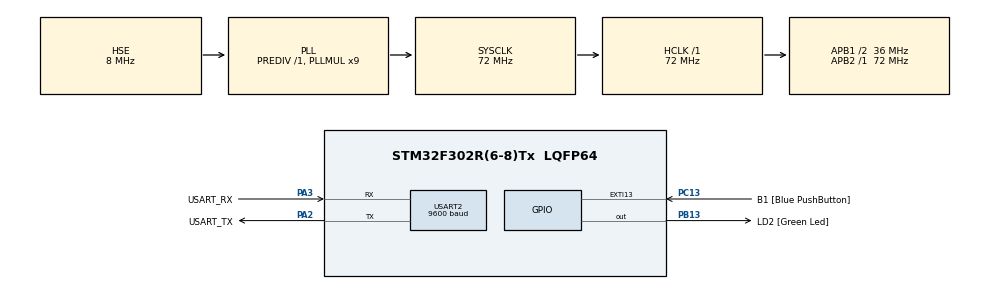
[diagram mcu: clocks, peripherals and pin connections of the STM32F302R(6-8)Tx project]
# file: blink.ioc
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Mcu.Family=STM32F3
Mcu.Name=STM32F302R(6-8)Tx
Mcu.Package=LQFP64
NVIC.PriorityGroup=NVIC_PRIORITYGROUP_0
PA13.GPIO_Label=TMS
PA13.Mode=Trace_Asynchronous_SW
PA13.Signal=SYS_JTMS-SWDIO
PA14.GPIO_Label=TCK
PA14.Mode=Trace_Asynchronous_SW
PA14.Signal=SYS_JTCK-SWCLK
PA2.GPIO_Label=USART_TX
PA2.GPIO_Mode=GPIO_MODE_AF_PP
PA2.GPIO_PuPd=GPIO_NOPULL
PA2.GPIO_Speed=GPIO_SPEED_FREQ_LOW
PA2.Mode=Asynchronous
PA2.Signal=USART2_TX
PA3.GPIO_Label=USART_RX
PA3.GPIO_Mode=GPIO_MODE_AF_PP
PA3.GPIO_PuPd=GPIO_NOPULL
PA3.GPIO_Speed=GPIO_SPEED_FREQ_LOW
PA3.Mode=Asynchronous
PA3.Signal=USART2_RX
PB13.GPIO_Label=LD2 [Green Led]
PB13.GPIO_ModeDefaultOutputPP=GPIO_MODE_OUTPUT_PP
PB13.GPIO_PuPd=GPIO_NOPULL
PB13.PinState=GPIO_PIN_SET
PB13.Signal=GPIO_Output
PB3.GPIO_Label=SWO
PB3.Mode=Trace_Asynchronous_SW
PB3.Signal=SYS_JTDO-TRACESWO
PC13.GPIO_Label=B1 [Blue PushButton]
PC13.GPIO_ModeDefaultEXTI=GPIO_MODE_IT_RISING
PC13.GPIO_PuPd=GPIO_PULLUP
PC13.Signal=GPXTI13
PC14\ -\ OSC32_IN.Signal=RCC_OSC32_IN
PC15\ -\ OSC32_OUT.Signal=RCC_OSC32_OUT
PF0-OSC_IN.Mode=HSE-External-Oscillator
PF0-OSC_IN.Signal=RCC_OSC_IN
PF1-OSC_OUT.Mode=HSE-External-Oscillator
PF1-OSC_OUT.Signal=RCC_OSC_OUT
ProjectManager.HeapSize=0x200
ProjectManager.StackSize=0x400
ProjectManager.TargetToolchain=STM32CubeIDE
RCC.AHBFreq_Value=72000000
RCC.APB1CLKDivider=RCC_HCLK_DIV2
RCC.APB1Freq_Value=36000000
RCC.APB1TimFreq_Value=72000000
RCC.APB2Freq_Value=72000000
RCC.APB2TimFreq_Value=72000000
RCC.CortexFreq_Value=72000000
RCC.HCLKFreq_Value=72000000
RCC.HSE_VALUE=8000000
RCC.HSI_VALUE=8000000
RCC.LSE_VALUE=32768
RCC.PLLM=8
RCC.PLLMUL=RCC_PLL_MUL9
RCC.PLLN=336
RCC.PLLP=RCC_PLLP_DIV4
RCC.PLLQ=7
RCC.PLLSourceVirtual=RCC_PLLSOURCE_HSE
RCC.SYSCLKFreq_VALUE=72000000
RCC.SYSCLKSourceVirtual=RCC_SYSCLKSOURCE_PLLCLK
RCC.USBFreq_Value=72000000
USART2.BaudRate=9600
USART2.VirtualMode-Asynchronous=VM_ASYNC
board=NUCLEO-F302R8

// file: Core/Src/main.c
/* USER CODE BEGIN Header */
/**
 ******************************************************************************
 * @file           : main.c
 * @brief          : Main program body
 ******************************************************************************
 * @attention
 *
 * Copyright (c) 2026 STMicroelectronics.
 * All rights reserved.
 *
 * This software is licensed under terms that can be found in the LICENSE file
 * in the root directory of this software component.
 * If no LICENSE file comes with this software, it is provided AS-IS.
 *
 ******************************************************************************
 */
/* USER CODE END Header */
#include "main.h"

/* USER CODE BEGIN Includes */
#include <stdio.h>
/* USER CODE END Includes */

UART_HandleTypeDef huart2;

void SystemClock_Config(void);
static void MX_GPIO_Init(void);
static void MX_USART2_UART_Init(void);

/* USER CODE BEGIN 0 */

// Send printf to UART2
int _write(int fd, char *ptr, int len) {
	HAL_StatusTypeDef hstatus;

	if (fd == 1 || fd == 2) {
		hstatus = HAL_UART_Transmit(&huart2, (uint8_t*) ptr, len, HAL_MAX_DELAY);
		if (hstatus == HAL_OK)
			return len;
		else
			return -1;
	}
	return -1;
}
/* USER CODE END 0 */

int main(void)
{

  /* MCU Configuration--------------------------------------------------------*/

  /* Reset of all peripherals, Initializes the Flash interface and the Systick. */
  HAL_Init();

  /* Configure the system clock */
  SystemClock_Config();

  /* Initialize all configured peripherals */
  MX_GPIO_Init();
  MX_USART2_UART_Init();
  /* USER CODE BEGIN 2 */

	printf("\rFirst application starting.");

  /* USER CODE END 2 */

  /* Infinite loop */
  /* USER CODE BEGIN WHILE */

	uint32_t now = 0, lastPrint = 0;

	while (1) {
		now = HAL_GetTick();

		if(now - lastPrint >= 1000){
			printf("\r\nLoop");
			lastPrint = now;
			HAL_GPIO_TogglePin(LD2_GPIO_Port, LD2_Pin);
		}
    /* USER CODE END WHILE */

	}
}

void SystemClock_Config(void)
{
  RCC_OscInitTypeDef RCC_OscInitStruct = {0};
  RCC_ClkInitTypeDef RCC_ClkInitStruct = {0};

  /** Initializes the RCC Oscillators according to the specified parameters
  * in the RCC_OscInitTypeDef structure.
  */
  RCC_OscInitStruct.OscillatorType = RCC_OSCILLATORTYPE_HSE;
  RCC_OscInitStruct.HSEState = RCC_HSE_ON;
  RCC_OscInitStruct.HSEPredivValue = RCC_HSE_PREDIV_DIV1;
  RCC_OscInitStruct.HSIState = RCC_HSI_ON;
  RCC_OscInitStruct.PLL.PLLState = RCC_PLL_ON;
  RCC_OscInitStruct.PLL.PLLSource = RCC_PLLSOURCE_HSE;
  RCC_OscInitStruct.PLL.PLLMUL = RCC_PLL_MUL9;
  if (HAL_RCC_OscConfig(&RCC_OscInitStruct) != HAL_OK)
  {
    Error_Handler();
  }

  /** Initializes the CPU, AHB and APB buses clocks
  */
  RCC_ClkInitStruct.ClockType = RCC_CLOCKTYPE_HCLK|RCC_CLOCKTYPE_SYSCLK
                              |RCC_CLOCKTYPE_PCLK1|RCC_CLOCKTYPE_PCLK2;
  RCC_ClkInitStruct.SYSCLKSource = RCC_SYSCLKSOURCE_PLLCLK;
  RCC_ClkInitStruct.AHBCLKDivider = RCC_SYSCLK_DIV1;
  RCC_ClkInitStruct.APB1CLKDivider = RCC_HCLK_DIV2;
  RCC_ClkInitStruct.APB2CLKDivider = RCC_HCLK_DIV1;

  if (HAL_RCC_ClockConfig(&RCC_ClkInitStruct, FLASH_LATENCY_2) != HAL_OK)
  {
    Error_Handler();
  }
}

static void MX_USART2_UART_Init(void)
{

  huart2.Instance = USART2;
  huart2.Init.BaudRate = 9600;
  huart2.Init.WordLength = UART_WORDLENGTH_8B;
  huart2.Init.StopBits = UART_STOPBITS_1;
  huart2.Init.Parity = UART_PARITY_NONE;
  huart2.Init.Mode = UART_MODE_TX_RX;
  huart2.Init.HwFlowCtl = UART_HWCONTROL_NONE;
  huart2.Init.OverSampling = UART_OVERSAMPLING_16;
  huart2.Init.OneBitSampling = UART_ONE_BIT_SAMPLE_DISABLE;
  huart2.AdvancedInit.AdvFeatureInit = UART_ADVFEATURE_NO_INIT;
  if (HAL_UART_Init(&huart2) != HAL_OK)
  {
    Error_Handler();
  }

}

static void MX_GPIO_Init(void)
{
  GPIO_InitTypeDef GPIO_InitStruct = {0};

  /* GPIO Ports Clock Enable */
  __HAL_RCC_GPIOC_CLK_ENABLE();
  __HAL_RCC_GPIOF_CLK_ENABLE();
  __HAL_RCC_GPIOA_CLK_ENABLE();
  __HAL_RCC_GPIOB_CLK_ENABLE();

  /*Configure GPIO pin Output Level */
  HAL_GPIO_WritePin(LD2_GPIO_Port, LD2_Pin, GPIO_PIN_SET);

  /*Configure GPIO pin : B1_Pin */
  GPIO_InitStruct.Pin = B1_Pin;
  GPIO_InitStruct.Mode = GPIO_MODE_IT_RISING;
  GPIO_InitStruct.Pull = GPIO_PULLUP;
  HAL_GPIO_Init(B1_GPIO_Port, &GPIO_InitStruct);

  /*Configure GPIO pin : LD2_Pin */
  GPIO_InitStruct.Pin = LD2_Pin;
  GPIO_InitStruct.Mode = GPIO_MODE_OUTPUT_PP;
  GPIO_InitStruct.Pull = GPIO_NOPULL;
  GPIO_InitStruct.Speed = GPIO_SPEED_FREQ_LOW;
  HAL_GPIO_Init(LD2_GPIO_Port, &GPIO_InitStruct);

}

void Error_Handler(void)
{
	__disable_irq();
	while (1) {
	}
}
